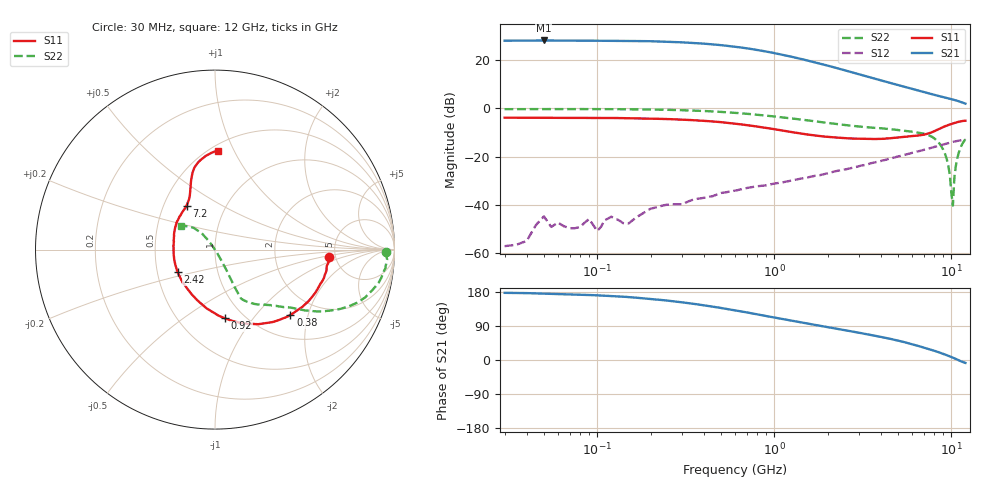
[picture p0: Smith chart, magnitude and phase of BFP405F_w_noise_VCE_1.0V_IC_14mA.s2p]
! Infineon Technologies  Discrete & RF Semiconductors
! BFP405F
! VCE =  1.0 V,  IC =  14 mA
! Common Emitter S-Parameters:  Nov 2015
# GHz  S  MA  R  50
!  f  S11  S21  S12  S22
! GHz  MAG  ANG  MAG  ANG  MAG  ANG  MAG  ANG
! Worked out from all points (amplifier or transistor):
!   239 points, 30 MHz to 12 GHz, reference 50 ohm
!   highest |S21| = 28.0 dB at 50 MHz (marker M1)
!   |S21| within 3 dB of that: start of sweep to 661.2 MHz
!   unconditionally stable (mu >= 1): start of sweep to 30.39 MHz; 1.7 GHz to end of sweep
!   at 300 MHz: K = 0.33, MSG = 33.5 dB, |S12| = -39.7 dB
!   at 1.88 GHz: K = 1.07, MAG = 21.2 dB, |S12| = -27.4 dB
!   at 12 GHz: K = 1.41, MAG = 3.6 dB, |S12| = -12.9 dB
!   lowest NFmin = 1.91 dB at 450 MHz
!   S11 on the Smith chart (normalised r, x): 30 MHz: 4.43, -0.58; 380 MHz: 1.47, -1.55; 920 MHz: 0.82, -0.74; 2.42 GHz: 0.64, -0.17; 7.2 GHz: 0.65, +0.35; 12 GHz: 0.55, +0.87
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0.03  0.6372 -3.5  24.95 177.2  0.0014 62.0  0.9555 -0.8
0.04  0.6356 -4.6  25.04 176.5  0.0018 111.1  0.9587 -1.3
0.05  0.6366 -6.0  25.25 175.1  0.0058 123.5  0.9637 -1.8
0.085  0.6309 -10.0  24.96 171.8  0.0043 85.0  0.9592 -3.7
0.15  0.6195 -17.3  24.71 166.1  0.0041 79.1  0.9495 -7.1
0.2  0.6095 -22.8  24.35 160.9  0.0083 72.8  0.9403 -9.5
0.24  0.5996 -27.0  23.79 157.6  0.0099 72.7  0.931 -11.3
0.3  0.582 -33.2  23.11 152.3  0.0103 74.1  0.9099 -13.9
0.38  0.5554 -40.9  21.95 145.9  0.0136 74.6  0.8841 -16.9
0.46  0.5287 -48.1  20.79 140.0  0.0157 71.5  0.8548 -19.6
0.6  0.4804 -59.9  18.71 130.9  0.0197 68.8  0.8026 -23.5
0.7  0.4479 -67.1  17.37 125.4  0.0224 66.9  0.7676 -25.6
0.92  0.3869 -81.8  14.68 115.2  0.0259 66.1  0.6974 -29.5
1.3  0.3138 -103.3  11.25 102.1  0.0328 64.3  0.6062 -34.0
1.64  0.2773 -119.2  9.177 93.9  0.039 64.0  0.5465 -36.7
2.42  0.2426 -149.4  6.301 79.8  0.0526 63.0  0.456 -43.3
4.5  0.2389 163.8  3.35 56.0  0.0908 57.0  0.37 -54.5
7.2  0.2913 123.0  2.098 31.0  0.141 45.0  0.2864 -62.1
9.2  0.4223 108.0  1.662 14.5  0.1815 34.5  0.1147 -60.6
10.2  0.4832 102.5  1.511 6.2  0.2012 28.6  0.0097 126.6
10.6  0.5048 99.3  1.455 2.8  0.2077 25.8  0.0641 126.4
12  0.5505 88.0  1.246 -7.7  0.2253 18.4  0.2304 144.6
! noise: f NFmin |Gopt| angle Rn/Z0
0.45  1.91  0.12  3  0.31
0.9  1.94  0.11  6  0.31
1.5  1.98  0.1  10  0.2
1.9  2.03  0.08  15  0.24
2.4  2.17  0.06  22  0.38
3  2.25  0.04  27  0.41
3.5  2.31  0.02  23  0.49
4.5  2.5  0.07  -88  0.15
5.5  2.76  0.15  -87  0.08
